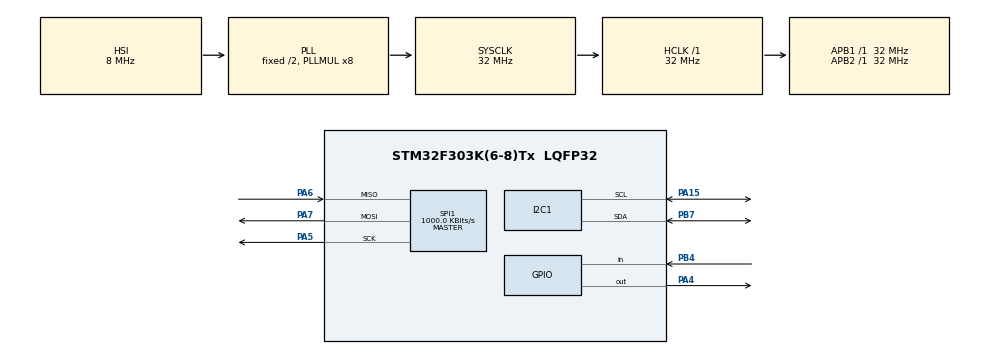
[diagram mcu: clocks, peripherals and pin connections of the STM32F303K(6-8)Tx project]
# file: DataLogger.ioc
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FATFS._MAX_SS=1024
Mcu.Family=STM32F3
Mcu.Name=STM32F303K(6-8)Tx
Mcu.Package=LQFP32
NVIC.PriorityGroup=NVIC_PRIORITYGROUP_4
PA0.Mode=SYS_WakeUp0
PA0.Signal=SYS_WKUP1
PA13.Mode=Trace_Asynchronous_SW
PA13.Signal=SYS_JTMS-SWDIO
PA14.Mode=Trace_Asynchronous_SW
PA14.Signal=SYS_JTCK-SWCLK
PA15.Mode=I2C
PA15.Signal=I2C1_SCL
PA4.Signal=GPIO_Output
PA5.GPIO_PuPd=GPIO_NOPULL
PA5.Mode=Full_Duplex_Master
PA5.Signal=SPI1_SCK
PA6.GPIO_PuPd=GPIO_PULLUP
PA6.Mode=Full_Duplex_Master
PA6.Signal=SPI1_MISO
PA7.GPIO_PuPd=GPIO_PULLUP
PA7.Mode=Full_Duplex_Master
PA7.Signal=SPI1_MOSI
PB3.Mode=Trace_Asynchronous_SW
PB3.Signal=SYS_JTDO-TRACESWO
PB4.GPIO_PuPd=GPIO_PULLUP
PB4.Signal=GPIO_Input
PB7.Mode=I2C
PB7.Signal=I2C1_SDA
ProjectManager.HeapSize=0x200
ProjectManager.StackSize=0x400
ProjectManager.TargetToolchain=STM32CubeIDE
RCC.AHBFreq_Value=32000000
RCC.APB1Freq_Value=32000000
RCC.APB1TimFreq_Value=32000000
RCC.APB2Freq_Value=32000000
RCC.APB2TimFreq_Value=32000000
RCC.CortexFreq_Value=32000000
RCC.HCLKFreq_Value=32000000
RCC.HSE_VALUE=8000000
RCC.HSI_VALUE=8000000
RCC.PLLMUL=RCC_PLL_MUL8
RCC.SYSCLKFreq_VALUE=32000000
RCC.SYSCLKSourceVirtual=RCC_SYSCLKSOURCE_PLLCLK
SPI1.BaudRatePrescaler=SPI_BAUDRATEPRESCALER_32
SPI1.CalculateBaudRate=1000.0 KBits/s
SPI1.DataSize=SPI_DATASIZE_8BIT
SPI1.Direction=SPI_DIRECTION_2LINES
SPI1.Mode=SPI_MODE_MASTER
SPI1.VirtualType=VM_MASTER
VP_FATFS_VS_Generic.Mode=User_defined
VP_TIM3_VS_ClockSourceINT.Mode=Internal
board=custom

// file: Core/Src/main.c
/* USER CODE BEGIN Header */
/**
 ******************************************************************************
 * @file           : main.c
 * @brief          : Main program body
 ******************************************************************************
 * @attention
 *
 * Copyright (c) 2023 STMicroelectronics.
 * All rights reserved.
 *
 * This software is licensed under terms that can be found in the LICENSE file
 * in the root directory of this software component.
 * If no LICENSE file comes with this software, it is provided AS-IS.
 *
 ******************************************************************************
 */
/* USER CODE END Header */
#include "main.h"
#include "fatfs.h"

/* USER CODE BEGIN Includes */
#include "fatfs_sd.h"
#include "stdio.h"
#include "string.h"
#include <bmx.h>
#include <bmp085.h>
/* USER CODE END Includes */

I2C_HandleTypeDef hi2c1;

SPI_HandleTypeDef hspi1;

TIM_HandleTypeDef htim3;

void SystemClock_Config(void);
static void MX_GPIO_Init(void);
static void MX_SPI1_Init(void);
static void MX_I2C1_Init(void);
static void MX_TIM3_Init(void);

/* USER CODE BEGIN 0 */
#define SAMPLENUM 50

FATFS fs;
FIL fil;
FRESULT fresult;
char buffer[160];
UINT br, bw;

FATFS *pfs;
uint32_t fre_clust, tot_size, fre_size;

float acc[3] = { 0, 0, 0 };
float gyro[3] = { 0, 0, 0 };
float mag[3] = { 0, 0, 0 };

int fpStateArray[SAMPLENUM];
int fpState = 0;

double pressure = 0;
double temperature = 0;
double altitude = 0;
double SEALEVEL_ALTITUDE = 0;

int currentTime = 0;
/* USER CODE END 0 */

int main(void)
{

  /* MCU Configuration--------------------------------------------------------*/

  /* Reset of all peripherals, Initializes the Flash interface and the Systick. */
  HAL_Init();

  /* Configure the system clock */
  SystemClock_Config();

  /* Initialize all configured peripherals */
  MX_GPIO_Init();
  MX_SPI1_Init();
  MX_FATFS_Init();
  MX_I2C1_Init();
  MX_TIM3_Init();
  /* USER CODE BEGIN 2 */
	HAL_TIM_Base_Start_IT(&htim3);
	int initBMX = bmxBegin(&hi2c1);
	int initBMP180 = bmpBegin(1, &hi2c1);

	if (initBMP180 == 1) {
		HAL_Delay(10);
		SEALEVEL_ALTITUDE = getRawAltitude();
	}

  /* USER CODE END 2 */

  /* Infinite loop */
  /* USER CODE BEGIN WHILE */

	fresult = f_mount(&fs, "/", 1);
	if (fresult == FR_OK) {
		//send_uart("SD CARD mounted successfully.");
		printf("SD CARD mounted successfully.");
	} else {
		//send_uart("ERROR : SD CARD mounted");
		printf("ERROR : SD CARD mounted");
	}

	HAL_Delay(1000);

	while (1) {
    /* USER CODE END WHILE */

    /* USER CODE BEGIN 3 */
		if (initBMP180) {
			pressure = readBMPPressure();
			temperature = readBMPTemperature();
			doualtitude = calculateAltitude(pressure, temperature);

			altitude = getRawAltitude() - SEALEVEL_ALTITUDE;

			if (altitude > maxAltitude) {
				maxAltitude = altitude;
			}

		}

		read_bmx_accl(acc);
		read_bmx_gyro(gyro);
		read_bmx_mag(mag);

		if (f_open(&fil, "log0815.csv", FA_OPEN_ALWAYS | FA_WRITE) == FR_OK) {

			currentTime = HAL_GetTick();

			sprintf(buffer,
					"%d, %.2f, %.2f, %.2f, %.2f, %.2f, %.2f, %.2f, %.2f, %.2f\n",
					currentTime, acc[0], acc[1], acc[2], gyro[0], gyro[1],
					gyro[2], mag[0], mag[1], mag[2]);
			// for debug
			printf("%s", buffer);
			f_lseek(&fil, f_size(&fil));
			f_write(&fil, buffer, strlen(buffer), &bw);
			f_close(&fil);

		} else {
			printf("open failed");
		}

	}
  /* USER CODE END 3 */
}

void SystemClock_Config(void)
{
  RCC_OscInitTypeDef RCC_OscInitStruct = {0};
  RCC_ClkInitTypeDef RCC_ClkInitStruct = {0};
  RCC_PeriphCLKInitTypeDef PeriphClkInit = {0};

  /** Initializes the RCC Oscillators according to the specified parameters
  * in the RCC_OscInitTypeDef structure.
  */
  RCC_OscInitStruct.OscillatorType = RCC_OSCILLATORTYPE_HSI;
  RCC_OscInitStruct.HSIState = RCC_HSI_ON;
  RCC_OscInitStruct.HSICalibrationValue = RCC_HSICALIBRATION_DEFAULT;
  RCC_OscInitStruct.PLL.PLLState = RCC_PLL_ON;
  RCC_OscInitStruct.PLL.PLLSource = RCC_PLLSOURCE_HSI;
  RCC_OscInitStruct.PLL.PLLMUL = RCC_PLL_MUL8;
  if (HAL_RCC_OscConfig(&RCC_OscInitStruct) != HAL_OK)
  {
    Error_Handler();
  }
  /** Initializes the CPU, AHB and APB buses clocks
  */
  RCC_ClkInitStruct.ClockType = RCC_CLOCKTYPE_HCLK|RCC_CLOCKTYPE_SYSCLK
                              |RCC_CLOCKTYPE_PCLK1|RCC_CLOCKTYPE_PCLK2;
  RCC_ClkInitStruct.SYSCLKSource = RCC_SYSCLKSOURCE_PLLCLK;
  RCC_ClkInitStruct.AHBCLKDivider = RCC_SYSCLK_DIV1;
  RCC_ClkInitStruct.APB1CLKDivider = RCC_HCLK_DIV1;
  RCC_ClkInitStruct.APB2CLKDivider = RCC_HCLK_DIV1;

  if (HAL_RCC_ClockConfig(&RCC_ClkInitStruct, FLASH_LATENCY_1) != HAL_OK)
  {
    Error_Handler();
  }
  PeriphClkInit.PeriphClockSelection = RCC_PERIPHCLK_I2C1;
  PeriphClkInit.I2c1ClockSelection = RCC_I2C1CLKSOURCE_HSI;
  if (HAL_RCCEx_PeriphCLKConfig(&PeriphClkInit) != HAL_OK)
  {
    Error_Handler();
  }
}

static void MX_I2C1_Init(void)
{

  hi2c1.Instance = I2C1;
  hi2c1.Init.Timing = 0x2000090E;
  hi2c1.Init.OwnAddress1 = 0;
  hi2c1.Init.AddressingMode = I2C_ADDRESSINGMODE_7BIT;
  hi2c1.Init.DualAddressMode = I2C_DUALADDRESS_DISABLE;
  hi2c1.Init.OwnAddress2 = 0;
  hi2c1.Init.OwnAddress2Masks = I2C_OA2_NOMASK;
  hi2c1.Init.GeneralCallMode = I2C_GENERALCALL_DISABLE;
  hi2c1.Init.NoStretchMode = I2C_NOSTRETCH_DISABLE;
  if (HAL_I2C_Init(&hi2c1) != HAL_OK)
  {
    Error_Handler();
  }
  /** Configure Analogue filter
  */
  if (HAL_I2CEx_ConfigAnalogFilter(&hi2c1, I2C_ANALOGFILTER_ENABLE) != HAL_OK)
  {
    Error_Handler();
  }
  /** Configure Digital filter
  */
  if (HAL_I2CEx_ConfigDigitalFilter(&hi2c1, 0) != HAL_OK)
  {
    Error_Handler();
  }

}

static void MX_SPI1_Init(void)
{

  /* SPI1 parameter configuration*/
  hspi1.Instance = SPI1;
  hspi1.Init.Mode = SPI_MODE_MASTER;
  hspi1.Init.Direction = SPI_DIRECTION_2LINES;
  hspi1.Init.DataSize = SPI_DATASIZE_8BIT;
  hspi1.Init.CLKPolarity = SPI_POLARITY_LOW;
  hspi1.Init.CLKPhase = SPI_PHASE_1EDGE;
  hspi1.Init.NSS = SPI_NSS_SOFT;
  hspi1.Init.BaudRatePrescaler = SPI_BAUDRATEPRESCALER_32;
  hspi1.Init.FirstBit = SPI_FIRSTBIT_MSB;
  hspi1.Init.TIMode = SPI_TIMODE_DISABLE;
  hspi1.Init.CRCCalculation = SPI_CRCCALCULATION_DISABLE;
  hspi1.Init.CRCPolynomial = 7;
  hspi1.Init.CRCLength = SPI_CRC_LENGTH_DATASIZE;
  hspi1.Init.NSSPMode = SPI_NSS_PULSE_ENABLE;
  if (HAL_SPI_Init(&hspi1) != HAL_OK)
  {
    Error_Handler();
  }

}

static void MX_TIM3_Init(void)
{

  TIM_ClockConfigTypeDef sClockSourceConfig = {0};
  TIM_MasterConfigTypeDef sMasterConfig = {0};

  htim3.Instance = TIM3;
  htim3.Init.Prescaler = 0;
  htim3.Init.CounterMode = TIM_COUNTERMODE_UP;
  htim3.Init.Period = 65535;
  htim3.Init.ClockDivision = TIM_CLOCKDIVISION_DIV1;
  htim3.Init.AutoReloadPreload = TIM_AUTORELOAD_PRELOAD_DISABLE;
  if (HAL_TIM_Base_Init(&htim3) != HAL_OK)
  {
    Error_Handler();
  }
  sClockSourceConfig.ClockSource = TIM_CLOCKSOURCE_INTERNAL;
  if (HAL_TIM_ConfigClockSource(&htim3, &sClockSourceConfig) != HAL_OK)
  {
    Error_Handler();
  }
  sMasterConfig.MasterOutputTrigger = TIM_TRGO_RESET;
  sMasterConfig.MasterSlaveMode = TIM_MASTERSLAVEMODE_DISABLE;
  if (HAL_TIMEx_MasterConfigSynchronization(&htim3, &sMasterConfig) != HAL_OK)
  {
    Error_Handler();
  }

}

static void MX_GPIO_Init(void)
{
  GPIO_InitTypeDef GPIO_InitStruct = {0};

  /* GPIO Ports Clock Enable */
  __HAL_RCC_GPIOA_CLK_ENABLE();
  __HAL_RCC_GPIOB_CLK_ENABLE();

  /*Configure GPIO pin Output Level */
  HAL_GPIO_WritePin(GPIOA, GPIO_PIN_4, GPIO_PIN_RESET);

  /*Configure GPIO pin : PA4 */
  GPIO_InitStruct.Pin = GPIO_PIN_4;
  GPIO_InitStruct.Mode = GPIO_MODE_OUTPUT_PP;
  GPIO_InitStruct.Pull = GPIO_NOPULL;
  GPIO_InitStruct.Speed = GPIO_SPEED_FREQ_LOW;
  HAL_GPIO_Init(GPIOA, &GPIO_InitStruct);

  /*Configure GPIO pin : PB4 */
  GPIO_InitStruct.Pin = GPIO_PIN_4;
  GPIO_InitStruct.Mode = GPIO_MODE_INPUT;
  GPIO_InitStruct.Pull = GPIO_PULLUP;
  HAL_GPIO_Init(GPIOB, &GPIO_InitStruct);

}

/* USER CODE BEGIN 4 */
int _write(int file, char *ptr, int len) {
	int DataIdx;
	for (DataIdx = 0; DataIdx < len; DataIdx++) {
		ITM_SendChar(*ptr++);
	}
	return len;
}

double getRawAltitude() {
	double pressure = readBMPPressure();
	double temperature = readBMPTemperature();
	double _altitude = calculateAltitude(pressure, temperature);

	return _altitude;
}
/* USER CODE END 4 */

void Error_Handler(void)
{
	__disable_irq();
	while (1) {
	}
}
